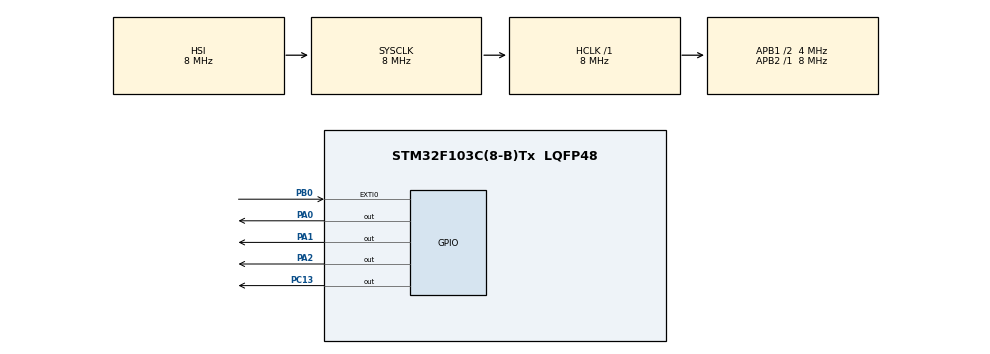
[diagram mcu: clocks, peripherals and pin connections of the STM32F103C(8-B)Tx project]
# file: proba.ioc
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Mcu.Family=STM32F1
Mcu.Name=STM32F103C(8-B)Tx
Mcu.Package=LQFP48
NVIC.EXTI0_IRQn=true\:0\:0\:false\:false\:true\:true\:true\:true
NVIC.PriorityGroup=NVIC_PRIORITYGROUP_4
NVIC.TIM1_UP_IRQn=true\:0\:0\:false\:false\:true\:true\:true\:true
PA0-WKUP.GPIO_ModeDefaultOutputPP=GPIO_MODE_OUTPUT_PP
PA0-WKUP.GPIO_PuPd=GPIO_PULLUP
PA0-WKUP.PinState=GPIO_PIN_RESET
PA0-WKUP.Signal=GPIO_Output
PA1.GPIO_ModeDefaultOutputPP=GPIO_MODE_OUTPUT_PP
PA1.GPIO_PuPd=GPIO_PULLUP
PA1.PinState=GPIO_PIN_RESET
PA1.Signal=GPIO_Output
PA13.Mode=Serial_Wire
PA13.Signal=SYS_JTMS-SWDIO
PA14.Mode=Serial_Wire
PA14.Signal=SYS_JTCK-SWCLK
PA2.GPIO_ModeDefaultOutputPP=GPIO_MODE_OUTPUT_PP
PA2.GPIO_PuPd=GPIO_PULLUP
PA2.PinState=GPIO_PIN_RESET
PA2.Signal=GPIO_Output
PB0.GPIO_ModeDefaultEXTI=GPIO_MODE_IT_RISING_FALLING
PB0.GPIO_PuPd=GPIO_PULLDOWN
PB0.Signal=GPXTI0
PC13-TAMPER-RTC.Signal=GPIO_Output
PD0-OSC_IN.Mode=HSE-External-Oscillator
PD0-OSC_IN.Signal=RCC_OSC_IN
PD1-OSC_OUT.Mode=HSE-External-Oscillator
PD1-OSC_OUT.Signal=RCC_OSC_OUT
ProjectManager.HeapSize=0x200
ProjectManager.StackSize=0x400
ProjectManager.TargetToolchain=STM32CubeIDE
RCC.AHBFreq_Value=8000000
RCC.APB1CLKDivider=RCC_HCLK_DIV2
RCC.APB1Freq_Value=4000000
RCC.APB1TimFreq_Value=8000000
RCC.APB2Freq_Value=8000000
RCC.APB2TimFreq_Value=8000000
RCC.HCLKFreq_Value=8000000
RCC.PLLMUL=RCC_PLL_MUL9
RCC.PLLSourceVirtual=RCC_PLLSOURCE_HSE
RCC.SYSCLKFreq_VALUE=8000000
RCC.USBFreq_Value=72000000
TIM1.Period=500
TIM1.Prescaler=8000-1
TIM1.RepetitionCounter=1
VP_TIM1_VS_ClockSourceINT.Mode=Internal
board=custom

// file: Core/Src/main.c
/* USER CODE BEGIN Header */
/**
  ******************************************************************************
  * @file           : main.c
  * @brief          : Main program body
  ******************************************************************************
  * @attention
  *
  * Copyright (c) 2022 STMicroelectronics.
  * All rights reserved.
  *
  * This software is licensed under terms that can be found in the LICENSE file
  * in the root directory of this software component.
  * If no LICENSE file comes with this software, it is provided AS-IS.
  *
  ******************************************************************************
  */
/* USER CODE END Header */
#include "main.h"

/* USER CODE BEGIN PD */
#define PIN_DIODE GPIOA
#define CRVENO GPIO_PIN_2
#define ZUTO GPIO_PIN_1
#define ZELENO GPIO_PIN_0

#define PIN_DUGME GPIOB
#define DUGME GPIO_PIN_0

#define TIMER_PERIOD_MS 10

uint32_t kliknuto_dugme = 0;
uint32_t ukljucena_dioda = 0;
uint32_t kliknuto_vreme = 0;
uint32_t perioda_tajmera = 10; //[ms]

/* USER CODE END PD */

TIM_HandleTypeDef htim1;

void SystemClock_Config(void);
static void MX_GPIO_Init(void);
static void MX_TIM1_Init(void);

int main(void)
{

  /* MCU Configuration--------------------------------------------------------*/

  /* Reset of all peripherals, Initializes the Flash interface and the Systick. */
  HAL_Init();

  /* Configure the system clock */
  SystemClock_Config();

  /* Initialize all configured peripherals */
  MX_GPIO_Init();
  MX_TIM1_Init();

  /* Infinite loop */
  /* USER CODE BEGIN WHILE */

  HAL_GPIO_WritePin(PIN_DIODE, ZUTO, GPIO_PIN_SET);
  while (1)
  {

	  HAL_GPIO_WritePin(GPIOC, GPIO_PIN_13, GPIO_PIN_SET);
	  HAL_GPIO_WritePin(PIN_DIODE, ZELENO, GPIO_PIN_SET);
	  HAL_GPIO_WritePin(PIN_DIODE, CRVENO, GPIO_PIN_SET);

	  HAL_Delay(500);
	  HAL_GPIO_TogglePin(PIN_DIODE, CRVENO);

	  HAL_Delay(500);
	  HAL_GPIO_TogglePin(PIN_DIODE, CRVENO);

    /* USER CODE END WHILE */

  }
}

void SystemClock_Config(void)
{
  RCC_OscInitTypeDef RCC_OscInitStruct = {0};
  RCC_ClkInitTypeDef RCC_ClkInitStruct = {0};

  /** Initializes the RCC Oscillators according to the specified parameters
  * in the RCC_OscInitTypeDef structure.
  */
  RCC_OscInitStruct.OscillatorType = RCC_OSCILLATORTYPE_HSI;
  RCC_OscInitStruct.HSIState = RCC_HSI_ON;
  RCC_OscInitStruct.HSICalibrationValue = RCC_HSICALIBRATION_DEFAULT;
  RCC_OscInitStruct.PLL.PLLState = RCC_PLL_NONE;
  if (HAL_RCC_OscConfig(&RCC_OscInitStruct) != HAL_OK)
  {
    Error_Handler();
  }

  /** Initializes the CPU, AHB and APB buses clocks
  */
  RCC_ClkInitStruct.ClockType = RCC_CLOCKTYPE_HCLK|RCC_CLOCKTYPE_SYSCLK
                              |RCC_CLOCKTYPE_PCLK1|RCC_CLOCKTYPE_PCLK2;
  RCC_ClkInitStruct.SYSCLKSource = RCC_SYSCLKSOURCE_HSI;
  RCC_ClkInitStruct.AHBCLKDivider = RCC_SYSCLK_DIV1;
  RCC_ClkInitStruct.APB1CLKDivider = RCC_HCLK_DIV2;
  RCC_ClkInitStruct.APB2CLKDivider = RCC_HCLK_DIV1;

  if (HAL_RCC_ClockConfig(&RCC_ClkInitStruct, FLASH_LATENCY_0) != HAL_OK)
  {
    Error_Handler();
  }
}

static void MX_TIM1_Init(void)
{

  TIM_ClockConfigTypeDef sClockSourceConfig = {0};
  TIM_MasterConfigTypeDef sMasterConfig = {0};

  htim1.Instance = TIM1;
  htim1.Init.Prescaler = 8000-1;
  htim1.Init.CounterMode = TIM_COUNTERMODE_UP;
  htim1.Init.Period = 500;
  htim1.Init.ClockDivision = TIM_CLOCKDIVISION_DIV1;
  htim1.Init.RepetitionCounter = 1;
  htim1.Init.AutoReloadPreload = TIM_AUTORELOAD_PRELOAD_DISABLE;
  if (HAL_TIM_Base_Init(&htim1) != HAL_OK)
  {
    Error_Handler();
  }
  sClockSourceConfig.ClockSource = TIM_CLOCKSOURCE_INTERNAL;
  if (HAL_TIM_ConfigClockSource(&htim1, &sClockSourceConfig) != HAL_OK)
  {
    Error_Handler();
  }
  sMasterConfig.MasterOutputTrigger = TIM_TRGO_RESET;
  sMasterConfig.MasterSlaveMode = TIM_MASTERSLAVEMODE_DISABLE;
  if (HAL_TIMEx_MasterConfigSynchronization(&htim1, &sMasterConfig) != HAL_OK)
  {
    Error_Handler();
  }

}

static void MX_GPIO_Init(void)
{
  GPIO_InitTypeDef GPIO_InitStruct = {0};

  /* GPIO Ports Clock Enable */
  __HAL_RCC_GPIOC_CLK_ENABLE();
  __HAL_RCC_GPIOD_CLK_ENABLE();
  __HAL_RCC_GPIOA_CLK_ENABLE();
  __HAL_RCC_GPIOB_CLK_ENABLE();

  /*Configure GPIO pin Output Level */
  HAL_GPIO_WritePin(GPIOC, GPIO_PIN_13, GPIO_PIN_RESET);

  /*Configure GPIO pin Output Level */
  HAL_GPIO_WritePin(GPIOA, GPIO_PIN_0|GPIO_PIN_1|GPIO_PIN_2, GPIO_PIN_RESET);

  /*Configure GPIO pin : PC13 */
  GPIO_InitStruct.Pin = GPIO_PIN_13;
  GPIO_InitStruct.Mode = GPIO_MODE_OUTPUT_PP;
  GPIO_InitStruct.Pull = GPIO_NOPULL;
  GPIO_InitStruct.Speed = GPIO_SPEED_FREQ_LOW;
  HAL_GPIO_Init(GPIOC, &GPIO_InitStruct);

  /*Configure GPIO pins : PA0 PA1 PA2 */
  GPIO_InitStruct.Pin = GPIO_PIN_0|GPIO_PIN_1|GPIO_PIN_2;
  GPIO_InitStruct.Mode = GPIO_MODE_OUTPUT_PP;
  GPIO_InitStruct.Pull = GPIO_PULLUP;
  GPIO_InitStruct.Speed = GPIO_SPEED_FREQ_LOW;
  HAL_GPIO_Init(GPIOA, &GPIO_InitStruct);

  /*Configure GPIO pin : PB0 */
  GPIO_InitStruct.Pin = GPIO_PIN_0;
  GPIO_InitStruct.Mode = GPIO_MODE_IT_RISING_FALLING;
  GPIO_InitStruct.Pull = GPIO_PULLDOWN;
  HAL_GPIO_Init(GPIOB, &GPIO_InitStruct);

  /* EXTI interrupt init*/
  HAL_NVIC_SetPriority(EXTI0_IRQn, 0, 0);
  HAL_NVIC_EnableIRQ(EXTI0_IRQn);

}

/* USER CODE BEGIN 4 */

void HAL_GPIO_EXTI_Callback(uint16_t GPIO_Pin)
{

  if(GPIO_Pin == GPIO_PIN_0) {

	  if(HAL_GPIO_ReadPin(PIN_DUGME, DUGME) == GPIO_PIN_SET){
		  HAL_TIM_Base_Start_IT(&htim1);
	  }

	  else
	  {
		  HAL_TIM_Base_Stop_IT(&htim1);
		  HAL_GPIO_WritePin(PIN_DIODE, ZUTO, GPIO_PIN_SET);
	  }

  }
}

void HAL_TIM_PeriodElapsedCallback(TIM_HandleTypeDef *htim){
	if (htim == &htim1){
		HAL_GPIO_WritePin(PIN_DIODE, ZUTO, GPIO_PIN_RESET);
	}
}

/* USER CODE END 4 */

void Error_Handler(void)
{
  __disable_irq();
  while (1)
  {
  }
}
